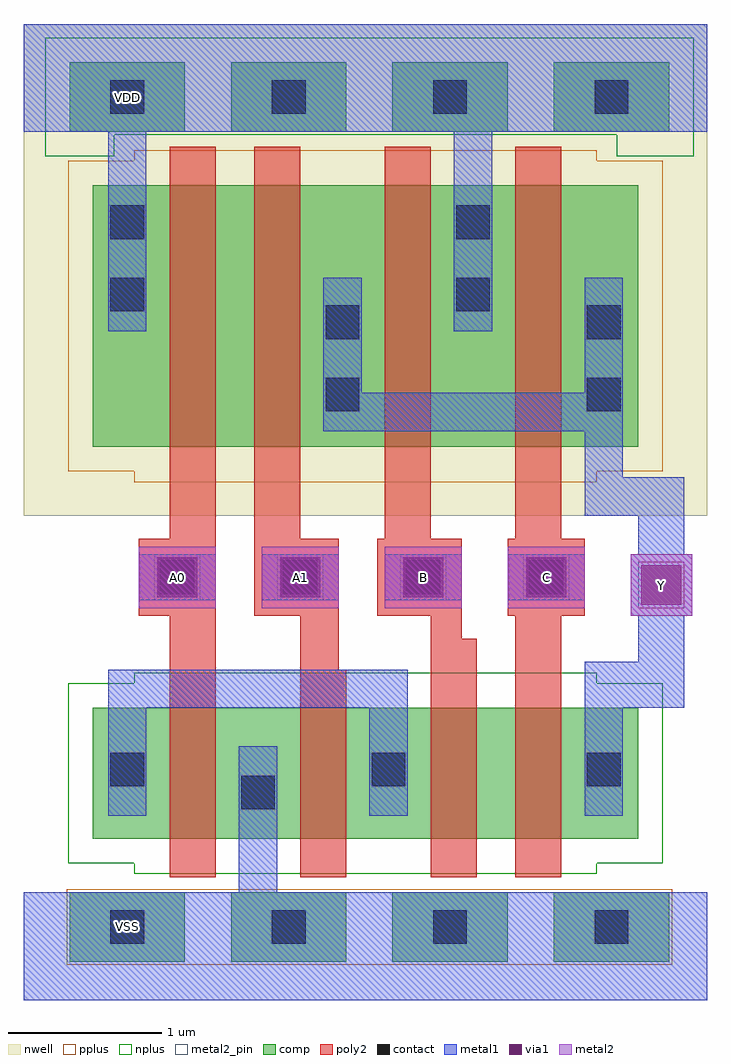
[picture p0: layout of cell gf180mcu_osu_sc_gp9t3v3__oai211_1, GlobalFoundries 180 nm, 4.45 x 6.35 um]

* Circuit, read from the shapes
.subckt gf180mcu_osu_sc_gp9t3v3__oai211_1 A0 A1 B C VDD VSS Y
XM1 VSS A0 n1 VSS nfet_03v3 w=0.85u l=0.3u
XM2 n1 A1 VSS VSS nfet_03v3 w=0.85u l=0.3u
XM3 n2 B n1 VSS nfet_03v3 w=0.85u l=0.3u
XM4 Y C n2 VSS nfet_03v3 w=0.85u l=0.3u
XM5 n3 A0 VDD VDD pfet_03v3 w=1.7u l=0.3u
XM6 Y A1 n3 VDD pfet_03v3 w=1.7u l=0.3u
XM7 VDD B Y VDD pfet_03v3 w=1.7u l=0.3u
XM8 Y C VDD VDD pfet_03v3 w=1.7u l=0.3u
.ends

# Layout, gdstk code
import gdstk
lib = gdstk.Library(unit=1e-6, precision=1e-09)
def R(c, l, rs):  # rectangles x0, y0, x1, y1
    for r in rs: c.add(gdstk.rectangle(r[:2], r[2:], *l))
def A(c, l, x, y, w, h, nx, ny, dx, dy):  # array of equal rectangles
    R(c, l, [(x+i*dx, y+j*dy, x+i*dx+w, y+j*dy+h) for i in range(nx) for j in range(ny)])
nwell = (21, 0)
comp = (22, 0)
poly2 = (30, 0)
pplus = (31, 0)
nplus = (32, 0)
contact = (33, 0)
metal1 = (34, 0)
via1 = (35, 0)
metal2 = (36, 0)
metal2_pin = (36, 10)

gf180mcu_osu_sc_gp9t3v3_ = lib.new_cell('gf180mcu_osu_sc_gp9t3v3__oai211_1')
R(gf180mcu_osu_sc_gp9t3v3_, nwell, [(0,3.15,4.45,6.35)])
A(gf180mcu_osu_sc_gp9t3v3_, comp, 0.3, 0.25, 0.75, 0.45, 4, 2, 1.05, 5.4)
R(gf180mcu_osu_sc_gp9t3v3_, comp, [(0.45,1.05,4,1.9), (0.45,3.6,4,5.3)])
A(gf180mcu_osu_sc_gp9t3v3_, poly2, 1.5, 3, 0.3, 2.55, 3, 1, 0.85, 0)
R(gf180mcu_osu_sc_gp9t3v3_, poly2, [(0.95,0.8,1.25,2.5), (1.8,0.8,2.1,2.15), (2.65,0.8,2.95,2.35), (3.2,0.8,3.5,2.5), (1.8,2.15,2.05,2.5), (2.65,2.35,2.85,2.5), (0.75,2.5,1.25,3), (1.5,2.5,2.05,3), (2.3,2.5,2.85,3), (3.15,2.5,3.65,3), (0.95,3,1.25,5.55)])
R(gf180mcu_osu_sc_gp9t3v3_, pplus, [(0.28,0.23,4.22,0.72), (0.72,3.37,3.73,3.44), (0.29,3.44,4.16,5.46), (0.72,5.46,3.73,5.53)])
R(gf180mcu_osu_sc_gp9t3v3_, nplus, [(0.72,0.82,3.73,0.89), (0.29,0.89,4.16,2.06), (0.72,2.06,3.73,2.13), (0.14,5.49,0.59,5.63), (3.86,5.49,4.36,5.63), (0.14,5.63,4.36,6.26)])
A(gf180mcu_osu_sc_gp9t3v3_, contact, 0.565, 0.365, 0.22, 0.22, 4, 2, 1.05, 5.4)
A(gf180mcu_osu_sc_gp9t3v3_, contact, 0.89, 2.64, 0.22, 0.22, 4, 1, 0.8, 0)
R(gf180mcu_osu_sc_gp9t3v3_, contact, [(1.415,1.24,1.635,1.46), (0.565,1.39,0.785,1.61), (2.265,1.39,2.485,1.61), (3.665,1.39,3.885,1.61), (1.965,3.83,2.185,4.05), (3.665,3.83,3.885,4.05), (1.965,4.3,2.185,4.52), (3.665,4.3,3.885,4.52), (0.565,4.48,0.785,4.7), (2.815,4.48,3.035,4.7), (0.565,4.95,0.785,5.17), (2.815,4.95,3.035,5.17)])
A(gf180mcu_osu_sc_gp9t3v3_, metal1, 0.75, 2.6, 0.5, 0.3, 4, 1, 0.8, 0)
R(gf180mcu_osu_sc_gp9t3v3_, metal1, [(0,0,4.45,0.7), (1.4,0.7,1.65,1.65), (0.55,1.2,0.8,1.9), (2.25,1.2,2.5,1.9), (3.65,1.2,3.9,1.9), (0.55,1.9,2.5,2.15), (3.65,1.9,4.3,2.2), (4,2.2,4.3,2.5), (3.95,2.5,4.35,2.9), (4,2.9,4.3,3.15), (3.65,3.15,4.3,3.4), (3.65,3.4,3.9,3.7), (1.95,3.7,3.9,3.95), (1.95,3.95,2.2,4.7), (3.65,3.95,3.9,4.7), (0.55,4.35,0.8,5.65), (2.8,4.35,3.05,5.65), (0,5.65,4.45,6.35)])
A(gf180mcu_osu_sc_gp9t3v3_, via1, 0.87, 2.62, 0.26, 0.26, 4, 1, 0.8, 0)
R(gf180mcu_osu_sc_gp9t3v3_, via1, [(4.02,2.57,4.28,2.83)])
A(gf180mcu_osu_sc_gp9t3v3_, metal2, 0.75, 2.55, 0.5, 0.4, 4, 1, 0.8, 0)
R(gf180mcu_osu_sc_gp9t3v3_, metal2, [(3.95,2.5,4.35,2.9)])
A(gf180mcu_osu_sc_gp9t3v3_, metal2_pin, 0.85, 2.6, 0.3, 0.3, 4, 1, 0.8, 0)
R(gf180mcu_osu_sc_gp9t3v3_, metal2_pin, [(4,2.55,4.3,2.85)])
gf180mcu_osu_sc_gp9t3v3_.add(gdstk.Label('A0', (1,2.75), layer=36, texttype=10))
gf180mcu_osu_sc_gp9t3v3_.add(gdstk.Label('A1', (1.8,2.75), layer=36, texttype=10))
gf180mcu_osu_sc_gp9t3v3_.add(gdstk.Label('B', (2.6,2.75), layer=36, texttype=10))
gf180mcu_osu_sc_gp9t3v3_.add(gdstk.Label('C', (3.4,2.75), layer=36, texttype=10))
gf180mcu_osu_sc_gp9t3v3_.add(gdstk.Label('Y', (4.15,2.7), layer=36, texttype=10))
gf180mcu_osu_sc_gp9t3v3_.add(gdstk.Label('VDD', (0.675,5.875), layer=34, texttype=10))
gf180mcu_osu_sc_gp9t3v3_.add(gdstk.Label('VSS', (0.675,0.475), layer=34, texttype=10))

lib.write_gds('gf180mcu_osu_sc_gp9t3v3__oai211_1.gds')
